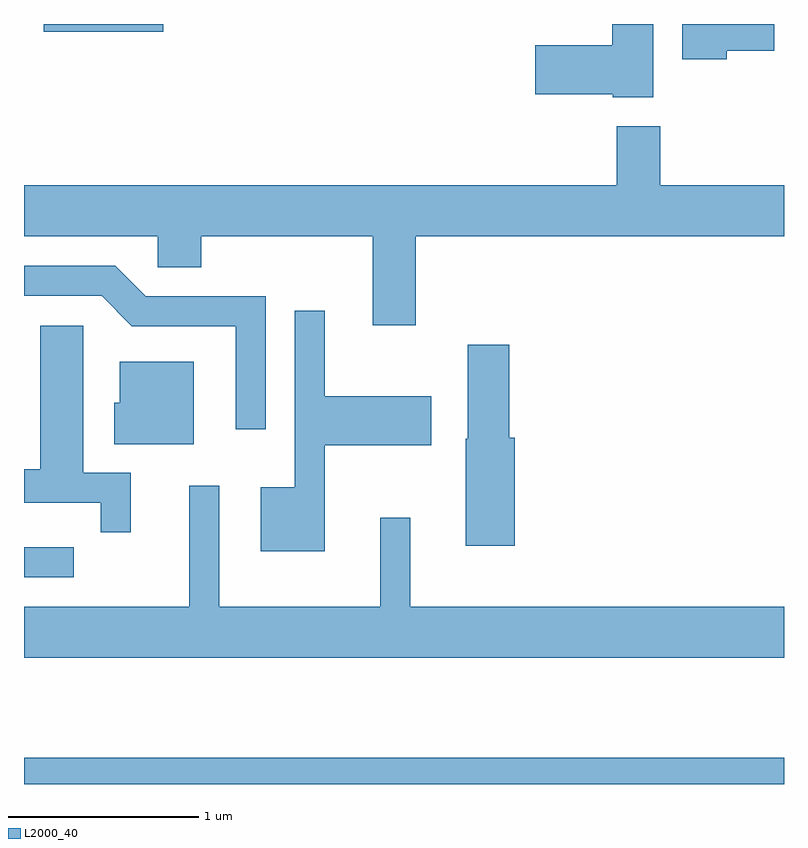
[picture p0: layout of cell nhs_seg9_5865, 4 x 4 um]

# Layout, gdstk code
import gdstk
lib = gdstk.Library(unit=1e-6, precision=1e-09)
def R(c, l, rs):  # rectangles x0, y0, x1, y1
    for r in rs: c.add(gdstk.rectangle(r[:2], r[2:], *l))
def P(c, l, *ps):  # polygons
    for p in ps: c.add(gdstk.Polygon(p, *l))
L2000_40 = (2000, 40)

nhs_seg9_5865 = lib.new_cell('nhs_seg9_5865')
R(nhs_seg9_5865, L2000_40, [(357.611,2044.432,361.611,2044.569), (357.611,2045.521,357.873,2045.679), (357.716,2048.391,358.344,2048.432)])
P(nhs_seg9_5865, L2000_40, [(361.309,2048.291),(361.559,2048.291),(361.559,2048.432),(361.076,2048.432),(361.076,2048.246),(361.309,2048.246)],
  [(360.924,2048.432),(360.706,2048.432),(360.706,2048.319),(360.301,2048.319),(360.301,2048.061),(360.71,2048.061),(360.71,2048.046),(360.924,2048.046)],
  [(359.674,2047.316),(361.611,2047.316),(361.611,2047.584),(360.959,2047.584),(360.959,2047.894),(360.731,2047.894),(360.731,2047.584),(357.611,2047.584),(357.611,2047.316),(358.316,2047.316),(358.316,2047.151),(358.544,2047.151),(358.544,2047.316),(359.446,2047.316),(359.446,2046.846),(359.674,2046.846)],
  [(358.884,2046.999),(358.252,2046.999),(358.092,2047.159),(357.611,2047.159),(357.611,2047.001),(358.019,2047.001),(358.179,2046.841),(358.726,2046.841),(358.726,2046.298),(358.884,2046.298)],
  [(359.194,2046.216),(359.754,2046.216),(359.754,2046.474),(359.194,2046.474),(359.194,2046.923),(359.036,2046.923),(359.036,2045.994),(358.856,2045.994),(358.856,2045.656),(359.194,2045.656)],
  [(358.174,2046.069),(357.924,2046.069),(357.924,2046.844),(357.696,2046.844),(357.696,2046.089),(357.611,2046.089),(357.611,2045.911),(358.016,2045.911),(358.016,2045.758),(358.174,2045.758)],
  [(360.194,2046.254),(360.164,2046.254),(360.164,2046.744),(359.946,2046.744),(359.946,2046.25),(359.936,2046.25),(359.936,2045.686),(360.194,2045.686)],
  [(358.504,2046.654),(358.116,2046.654),(358.116,2046.439),(358.086,2046.439),(358.086,2046.221),(358.504,2046.221)],
  [(361.611,2045.364),(359.644,2045.364),(359.644,2045.833),(359.486,2045.833),(359.486,2045.364),(358.639,2045.364),(358.639,2046.003),(358.481,2046.003),(358.481,2045.364),(357.611,2045.364),(357.611,2045.096),(361.611,2045.096)])

lib.write_gds('nhs_seg9_5865.gds')
